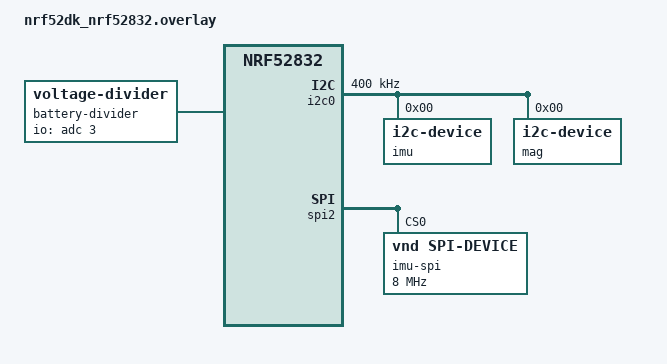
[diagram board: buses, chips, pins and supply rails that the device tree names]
&pwm0_default {
	group1 {
		psels = <NRF_PSEL(PWM_OUT0, 0, 4)>;
		nordic,drive-mode = <NRF_DRIVE_D0S1>;
		nordic,invert;
	};
};

pwm0_sleep: pwm0_sleep {
	group1 {
		psels = <NRF_PSEL(PWM_OUT0, 0, 4)>;
		low-power-enable;
	};
};

/ {
	pwmleds {
		pwm_led1: pwm_led_0 {
			pwms = <&pwm0 0 PWM_MSEC(20) PWM_POLARITY_INVERTED>;
		};		
	};

	battery-divider {
		compatible = "voltage-divider";
		status = "okay";
		io-channels = <&adc 3>; // Measure VDDHDIV5
		output-ohms = <40200>;
		full-ohms = <(100000+40200)>;
	};

	aliases {
		sw0 = &button0;
		pwm-led0 = &pwm_led0;
	};
};

&i2c0 {
	compatible = "nordic,nrf-twim";
	zephyr,concat-buf-size = <255>; // MAXCNT
	zephyr,flash-buf-max-size = <255>;
	clock-frequency = <I2C_BITRATE_FAST>;

	imu: imu@0 { // any address out of range (00, 7f, etc. will search all addresses and stored address first if available, specify an address here to search first otherwise
		compatible = "i2c-device";
		label = "imu";
		reg = <0>;
	};

	mag: mag@0 {
		compatible = "i2c-device";
		label = "mag";
		reg = <0>;
	};

};

arduino_spi: &spi2 {
	imu_spi: imu_spi@0 {
		compatible = "vnd,spi-device";
		spi-max-frequency = <DT_FREQ_M(8)>;
		label = "imu-spi";
		reg = <0>;
	};
};
